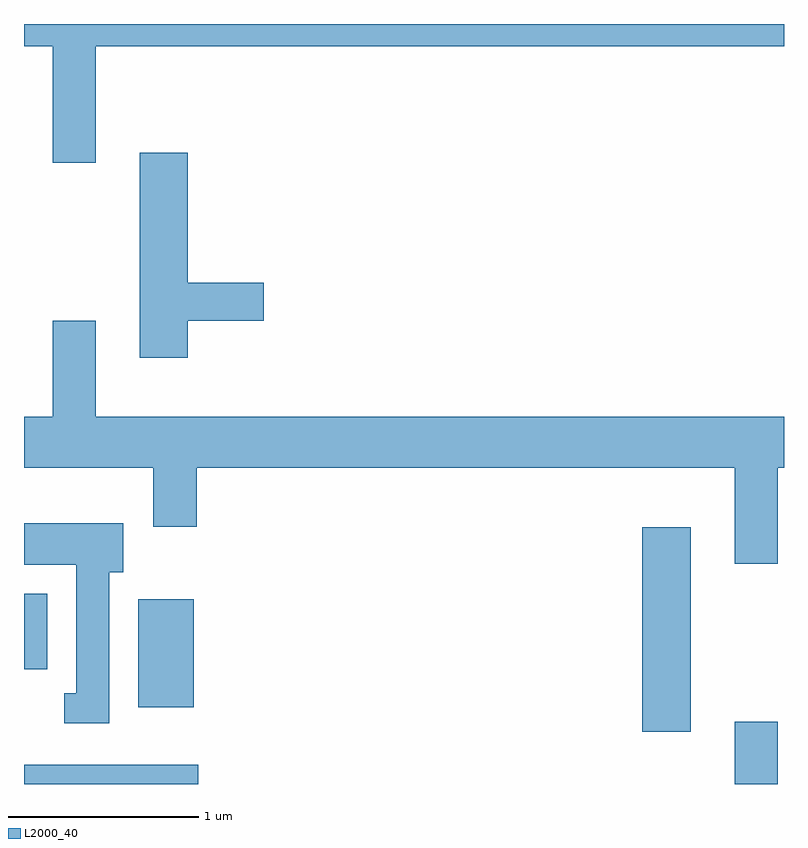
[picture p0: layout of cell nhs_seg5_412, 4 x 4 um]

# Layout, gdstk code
import gdstk
lib = gdstk.Library(unit=1e-6, precision=1e-09)
def R(c, l, rs):  # rectangles x0, y0, x1, y1
    for r in rs: c.add(gdstk.rectangle(r[:2], r[2:], *l))
def P(c, l, *ps):  # polygons
    for p in ps: c.add(gdstk.Polygon(p, *l))
L2000_40 = (2000, 40)

nhs_seg5_412 = lib.new_cell('nhs_seg5_412')
R(nhs_seg5_412, L2000_40, [(197.611,1404.072,198.528,1404.174), (201.351,1404.072,201.579,1404.399), (200.866,1404.346,201.119,1405.424), (198.211,1404.476,198.504,1405.044), (197.611,1404.676,197.734,1405.074)])
P(nhs_seg5_412, L2000_40, [(197.989,1407.956),(201.611,1407.956),(201.611,1408.072),(197.611,1408.072),(197.611,1407.956),(197.761,1407.956),(197.761,1407.341),(197.989,1407.341)],
  [(198.474,1406.511),(198.874,1406.511),(198.874,1406.709),(198.474,1406.709),(198.474,1407.394),(198.221,1407.394),(198.221,1406.316),(198.474,1406.316)],
  [(201.579,1405.736),(201.611,1405.736),(201.611,1406.004),(197.989,1406.004),(197.989,1406.509),(197.761,1406.509),(197.761,1406.004),(197.611,1406.004),(197.611,1405.736),(198.291,1405.736),(198.291,1405.426),(198.519,1405.426),(198.519,1405.736),(201.351,1405.736),(201.351,1405.231),(201.579,1405.231)],
  [(198.059,1405.186),(198.134,1405.186),(198.134,1405.444),(197.611,1405.444),(197.611,1405.226),(197.886,1405.226),(197.886,1404.549),(197.823,1404.549),(197.823,1404.391),(198.059,1404.391)])

lib.write_gds('nhs_seg5_412.gds')
